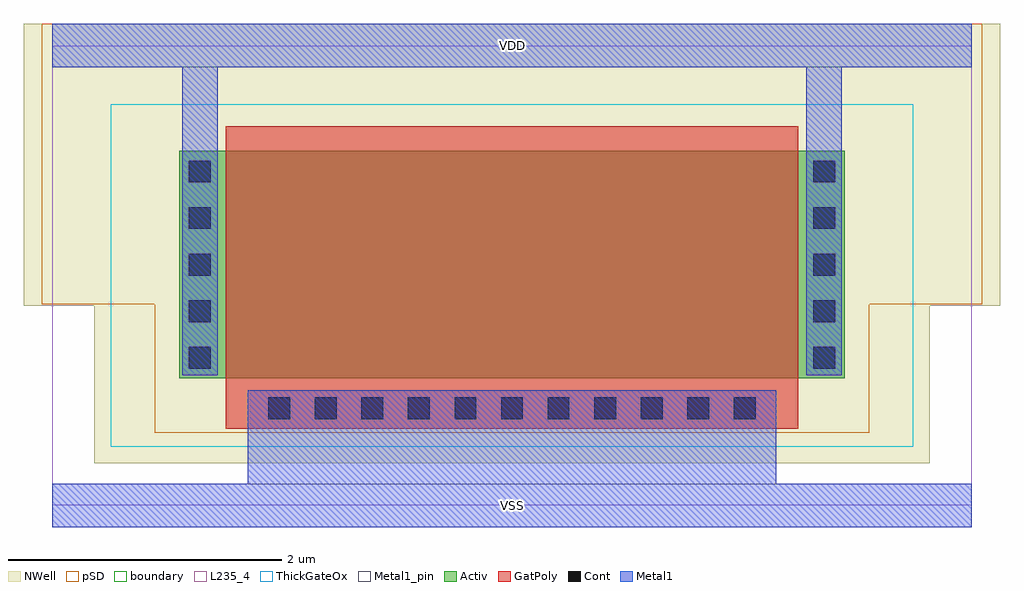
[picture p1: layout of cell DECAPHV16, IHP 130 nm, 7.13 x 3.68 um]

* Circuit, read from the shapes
.subckt DECAPHV16 VDD VSS
XM1 VDD VSS VDD n1 sg13_hv_pmos w=1.66u l=4.18u
.ends

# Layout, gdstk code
import gdstk
lib = gdstk.Library(unit=1e-6, precision=1e-09)
def R(c, l, rs):  # rectangles x0, y0, x1, y1
    for r in rs: c.add(gdstk.rectangle(r[:2], r[2:], *l))
def A(c, l, x, y, w, h, nx, ny, dx, dy):  # array of equal rectangles
    R(c, l, [(x+i*dx, y+j*dy, x+i*dx+w, y+j*dy+h) for i in range(nx) for j in range(ny)])
Activ = (1, 0)
GatPoly = (5, 0)
Cont = (6, 0)
Metal1 = (8, 0)
Metal1_pin = (8, 2)
pSD = (14, 0)
NWell = (31, 0)
ThickGateOx = (44, 0)
boundary = (189, 4)
L235_4 = (235, 4)

decaphv16 = lib.new_cell('DECAPHV16')
R(decaphv16, Activ, [(0.93,0.93,5.79,2.59)])
R(decaphv16, GatPoly, [(1.27,0.56,5.45,2.77)])
A(decaphv16, Cont, 1.58, 0.63, 0.16, 0.16, 11, 1, 0.34, 0)
A(decaphv16, Cont, 1, 1, 0.16, 0.16, 1, 5, 0, 0.34)
A(decaphv16, Cont, 5.56, 1, 0.16, 0.16, 1, 5, 0, 0.34)
R(decaphv16, Metal1, [(0,-0.16,6.72,0.16), (1.43,0.16,5.29,0.84), (0.95,0.95,1.21,3.2), (5.51,0.95,5.77,3.2), (0,3.2,6.72,3.52)])
R(decaphv16, Metal1_pin, [(0,-0.16,6.72,0.16), (0,3.2,6.72,3.52)])
R(decaphv16, pSD, [(0.75,0.53,5.97,1.47), (-0.075,1.47,6.795,3.52)])
R(decaphv16, NWell, [(0.31,0.31,6.41,1.46), (-0.205,1.46,6.925,3.52)])
R(decaphv16, ThickGateOx, [(0.43,0.43,6.29,2.93)])
R(decaphv16, boundary, [(0,0,6.72,3.36)])
R(decaphv16, L235_4, [(0,0,6.72,3.36)])
decaphv16.add(gdstk.Label('VSS', (3.36,0), layer=8, texttype=25))
decaphv16.add(gdstk.Label('VDD', (3.36,3.36), layer=8, texttype=25))

lib.write_gds('DECAPHV16.gds')
